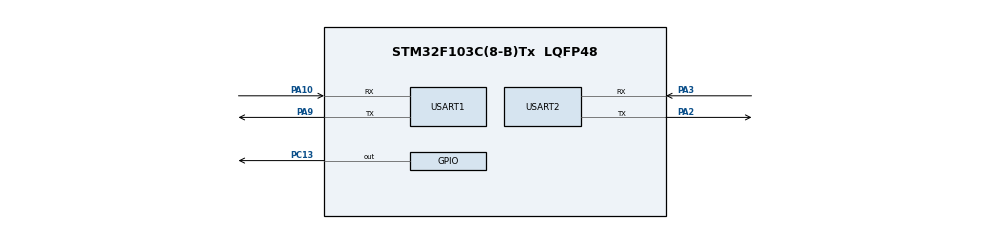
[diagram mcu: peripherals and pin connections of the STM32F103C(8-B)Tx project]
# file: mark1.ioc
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Mcu.Family=STM32F1
Mcu.Name=STM32F103C(8-B)Tx
Mcu.Package=LQFP48
NVIC.PriorityGroup=NVIC_PRIORITYGROUP_4
NVIC.USART1_IRQn=true\:0\:0\:false\:false\:true\:true\:true
NVIC.USART2_IRQn=true\:0\:0\:false\:false\:true\:true\:true
PA10.Mode=Asynchronous
PA10.Signal=USART1_RX
PA2.Mode=Asynchronous
PA2.Signal=USART2_TX
PA3.Mode=Asynchronous
PA3.Signal=USART2_RX
PA9.Mode=Asynchronous
PA9.Signal=USART1_TX
PC13-TAMPER-RTC.Signal=GPIO_Output
ProjectManager.HeapSize=0x200
ProjectManager.StackSize=0x400
ProjectManager.TargetToolchain=TrueSTUDIO
RCC.APB1Freq_Value=8000000
RCC.APB2Freq_Value=8000000
USART1.VirtualMode=VM_ASYNC
USART2.VirtualMode=VM_ASYNC
VP_SYS_VS_ND.Mode=No_Debug
board=custom

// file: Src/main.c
/* USER CODE BEGIN Header */
/**
  ******************************************************************************
  * @file           : main.c
  * @brief          : Main program body
  ******************************************************************************
  * @attention
  *
  * <h2><center>&copy; Copyright (c) 2019 STMicroelectronics.
  * All rights reserved.</center></h2>
  *
  * This software component is licensed by ST under BSD 3-Clause license,
  * the "License"; You may not use this file except in compliance with the
  * License. You may obtain a copy of the License at:
  *                        opensource.org/licenses/BSD-3-Clause
  *
  ******************************************************************************
  */
/* USER CODE END Header */

#include "main.h"

/* USER CODE BEGIN PD */
#define TXSTARTMESSAGESIZE                   (COUNTOF(StartMessagge) - 1)
#define RXBUFFERSIZE							1
#define COUNTOF(__BUFFER__)   (sizeof(__BUFFER__) / sizeof(*(__BUFFER__)))

#define SizeData				10

/* USER CODE END PD */

UART_HandleTypeDef huart1;
UART_HandleTypeDef huart2;

/* USER CODE BEGIN PV */
uint8_t StartMessagge[] = "\r\n Uart Ready: \r\n ";
uint8_t aPacketLength[RXBUFFERSIZE];
uint16_t MessageSize[SizeData];
uint8_t return_value;
uint8_t packet_length;
uint8_t aRxBuffer[RXBUFFERSIZE];
/* USER CODE END PV */

void SystemClock_Config(void);
static void MX_GPIO_Init(void);
static void MX_USART1_UART_Init(void);
static void MX_USART2_UART_Init(void);
/* USER CODE BEGIN PFP */
//void GetState_UART1(void)
//{
//
//}
/* USER CODE END PFP */

int main(void)
{

  /* MCU Configuration--------------------------------------------------------*/

  /* Reset of all peripherals, Initializes the Flash interface and the Systick. */
  HAL_Init();

  /* Configure the system clock */
  SystemClock_Config();

  /* Initialize all configured peripherals */
  MX_GPIO_Init();
  MX_USART1_UART_Init();
  MX_USART2_UART_Init();
  /* USER CODE BEGIN 2 */
return_value = HAL_UART_Transmit_IT(&huart1,StartMessagge,TXSTARTMESSAGESIZE);
if (return_value == HAL_OK)
{
	//Success
}
else
{
	HAL_GPIO_TogglePin(GPIOC, GPIO_PIN_13);
}
return_value = HAL_UART_Transmit_IT(&huart2,StartMessagge,TXSTARTMESSAGESIZE);
if (return_value == HAL_OK)
{
	//Success
}
else
{
	HAL_GPIO_TogglePin(GPIOC, GPIO_PIN_13);
}
  /* USER CODE END 2 */

  /* Infinite loop */
  while (1)
  {
	  if (HAL_UART_GetState(&huart1) == HAL_UART_STATE_READY)
	  	  {
	        HAL_UART_Receive_IT(&huart1, aRxBuffer, RXBUFFERSIZE);
	      }

	      if (HAL_UART_GetState(&huart2) == HAL_UART_STATE_READY)
	  	  {
	        HAL_UART_Receive_IT(&huart2, aRxBuffer, RXBUFFERSIZE);
	  	  }
  /* USER CODE END 3 */
}
}
void SystemClock_Config(void)
{
  RCC_OscInitTypeDef RCC_OscInitStruct = {0};
  RCC_ClkInitTypeDef RCC_ClkInitStruct = {0};

  /** Initializes the CPU, AHB and APB busses clocks
  */
  RCC_OscInitStruct.OscillatorType = RCC_OSCILLATORTYPE_HSI;
  RCC_OscInitStruct.HSIState = RCC_HSI_ON;
  RCC_OscInitStruct.HSICalibrationValue = RCC_HSICALIBRATION_DEFAULT;
  RCC_OscInitStruct.PLL.PLLState = RCC_PLL_NONE;
  if (HAL_RCC_OscConfig(&RCC_OscInitStruct) != HAL_OK)
  {
    Error_Handler();
  }
  /** Initializes the CPU, AHB and APB busses clocks
  */
  RCC_ClkInitStruct.ClockType = RCC_CLOCKTYPE_HCLK|RCC_CLOCKTYPE_SYSCLK
                              |RCC_CLOCKTYPE_PCLK1|RCC_CLOCKTYPE_PCLK2;
  RCC_ClkInitStruct.SYSCLKSource = RCC_SYSCLKSOURCE_HSI;
  RCC_ClkInitStruct.AHBCLKDivider = RCC_SYSCLK_DIV1;
  RCC_ClkInitStruct.APB1CLKDivider = RCC_HCLK_DIV1;
  RCC_ClkInitStruct.APB2CLKDivider = RCC_HCLK_DIV1;

  if (HAL_RCC_ClockConfig(&RCC_ClkInitStruct, FLASH_LATENCY_0) != HAL_OK)
  {
    Error_Handler();
  }
}

static void MX_USART1_UART_Init(void)
{

  huart1.Instance = USART1;
  huart1.Init.BaudRate = 115200;
  huart1.Init.WordLength = UART_WORDLENGTH_8B;
  huart1.Init.StopBits = UART_STOPBITS_1;
  huart1.Init.Parity = UART_PARITY_NONE;
  huart1.Init.Mode = UART_MODE_TX_RX;
  huart1.Init.HwFlowCtl = UART_HWCONTROL_NONE;
  huart1.Init.OverSampling = UART_OVERSAMPLING_16;
  if (HAL_UART_Init(&huart1) != HAL_OK)
  {
    Error_Handler();
  }

}

static void MX_USART2_UART_Init(void)
{

  huart2.Instance = USART2;
  huart2.Init.BaudRate = 115200;
  huart2.Init.WordLength = UART_WORDLENGTH_8B;
  huart2.Init.StopBits = UART_STOPBITS_1;
  huart2.Init.Parity = UART_PARITY_NONE;
  huart2.Init.Mode = UART_MODE_TX_RX;
  huart2.Init.HwFlowCtl = UART_HWCONTROL_NONE;
  huart2.Init.OverSampling = UART_OVERSAMPLING_16;
  if (HAL_UART_Init(&huart2) != HAL_OK)
  {
    Error_Handler();
  }

}

static void MX_GPIO_Init(void)
{
  GPIO_InitTypeDef GPIO_InitStruct = {0};

  /* GPIO Ports Clock Enable */
  __HAL_RCC_GPIOC_CLK_ENABLE();
  __HAL_RCC_GPIOA_CLK_ENABLE();

  /*Configure GPIO pin Output Level */
  HAL_GPIO_WritePin(GPIOC, GPIO_PIN_13, GPIO_PIN_RESET);

  /*Configure GPIO pin : PC13 */
  GPIO_InitStruct.Pin = GPIO_PIN_13;
  GPIO_InitStruct.Mode = GPIO_MODE_OUTPUT_PP;
  GPIO_InitStruct.Pull = GPIO_NOPULL;
  GPIO_InitStruct.Speed = GPIO_SPEED_FREQ_LOW;
  HAL_GPIO_Init(GPIOC, &GPIO_InitStruct);

}

/* USER CODE BEGIN 4 */
void HAL_UART_TxCpltCallback(UART_HandleTypeDef *UartHandle)
{

}
void HAL_UART_RxCpltCallback(UART_HandleTypeDef *UartHandle)
{
	if (UartHandle==&huart1)
	{
	HAL_UART_Transmit_IT(&huart2,aRxBuffer,RXBUFFERSIZE);
	}
	if (UartHandle==&huart2)
	{
	HAL_UART_Transmit_IT(&huart1,aRxBuffer,RXBUFFERSIZE);
	}
}
/* USER CODE END 4 */

void Error_Handler(void)
{
}

/************************ (C) COPYRIGHT STMicroelectronics *****END OF FILE****/
